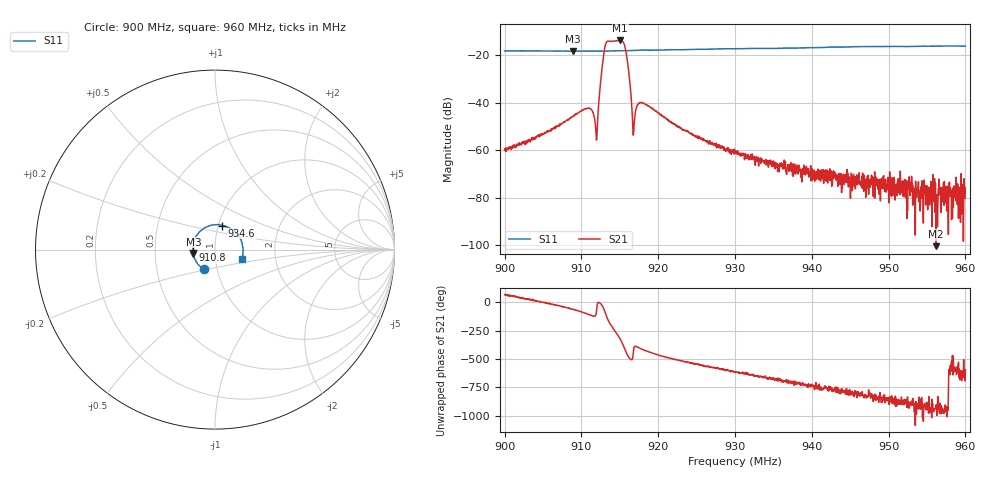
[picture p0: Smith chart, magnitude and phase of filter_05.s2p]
!Agilent Technologies,E5071C,MY46214392,A.11.36
!Date: Thu Feb 26 21:19:42 2026
!Data & Calibration Information:
!Freq	S11:NONE(--)	S21:NONE(--)	S12:NONE(--)	S22:NONE(--)
!PortZ  Port1:50+j0  Port2:50+j0
!Above PortZ is port z conversion or system Z0 setting when saving the data.
!When reading, reference impedance value at option line is always used.
# Hz S dB R 50
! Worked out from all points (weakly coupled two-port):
!   1601 points, 900 MHz to 960 MHz, reference 50 ohm
!   highest |S21| = -13.69 dB at 915 MHz (marker M1); lowest = -100.5 dB at 956.2 MHz (marker M2)
!   lowest |S11| = -18.2 dB at 908.9 MHz (marker M3), VSWR 1.28, Z = 39.2 - j1.97 ohm
!   |S11| at or under -10 dB: start of sweep to end of sweep
!   S12 and S22 are empty: the file has one direction only
!   S11 on the Smith chart (normalised r, x): 900 MHz: 0.86, -0.19; 910.8 MHz: 0.78, -0.01; 934.6 MHz: 1.04, +0.28; 960 MHz: 1.34, -0.14
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9e8  -18.11 -120.4  -59.92 69.3  -200.00 0.0  -200.00 0.0
9.0885e8  -18.24 -168.3  -45.82 -59.6  -200.00 0.0  -200.00 0.0
9.100125e8  -18.22 -174.3  -43.41 -83.8  -200.00 0.0  -200.00 0.0
9.108e8  -18.16 -178.3  -42.30 -101.9  -200.00 0.0  -200.00 0.0
9.11925e8  -18.19 175.9  -53.86 -97.8  -200.00 0.0  -200.00 0.0
9.121875e8  -18.20 174.6  -43.28 0.8  -200.00 0.0  -200.00 0.0
9.1275e8  -18.21 172.0  -23.71 -33.7  -200.00 0.0  -200.00 0.0
9.131625e8  -18.18 170.1  -15.09 -102.9  -200.00 0.0  -200.00 0.0
9.138375e8  -18.13 166.9  -14.06 160.6  -200.00 0.0  -200.00 0.0
9.150375e8  -17.99 160.8  -13.69 37.4  -200.00 0.0  -200.00 0.0
9.15825e8  -18.03 156.9  -18.85 -81.4  -200.00 0.0  -200.00 0.0
9.162e8  -17.98 155.3  -28.02 -127.5  -200.00 0.0  -200.00 0.0
9.16575e8  -17.93 153.4  -42.36 -146.4  -200.00 0.0  -200.00 0.0
9.168375e8  -17.89 152.2  -50.38 -41.8  -200.00 0.0  -200.00 0.0
9.177375e8  -17.79 147.5  -39.91 -48.8  -200.00 0.0  -200.00 0.0
9.20025e8  -17.76 136.2  -44.25 -105.1  -200.00 0.0  -200.00 0.0
9.3e8  -17.17 92.1  -61.51 101.8  -200.00 0.0  -200.00 0.0
9.34575e8  -17.10 73.9  -64.89 47.8  -200.00 0.0  -200.00 0.0
9.400125e8  -16.73 54.3  -67.82 -13.3  -200.00 0.0  -200.00 0.0
9.50025e8  -16.22 17.4  -73.13 -126.1  -200.00 0.0  -200.00 0.0
9.56175e8  -16.09 -4.5  -100.49 174.9  -200.00 0.0  -200.00 0.0
9.6e8  -16.06 -19.6  -80.39 124.9  -200.00 0.0  -200.00 0.0
